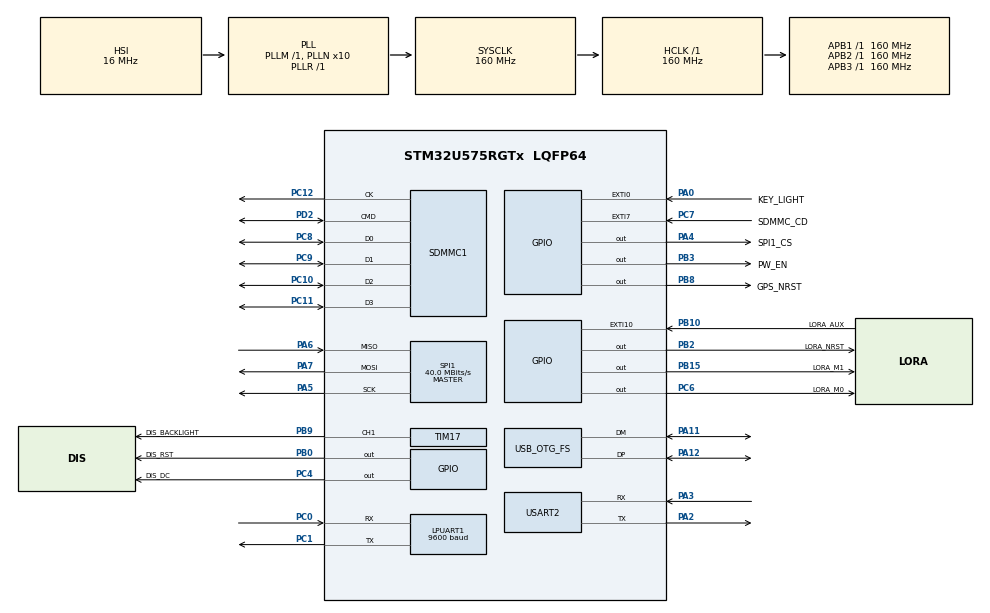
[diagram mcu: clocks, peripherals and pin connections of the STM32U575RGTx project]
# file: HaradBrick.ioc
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CORTEX_M33_NS.userName=CORTEX_M33
GPDMA1.DESTINC_GPDMACH0=DMA_DINC_INCREMENTED
GPDMA1.DIRECTION_GPDMACH1=DMA_MEMORY_TO_PERIPH
GPDMA1.DIRECTION_GPDMACH2=DMA_MEMORY_TO_PERIPH
GPDMA1.IPHANDLE_GPDMACH0-SIMPLEREQUEST_GPDMACH0=__NULL
GPDMA1.IPHANDLE_GPDMACH1-SIMPLEREQUEST_GPDMACH1=__NULL
GPDMA1.IPHANDLE_GPDMACH2-SIMPLEREQUEST_GPDMACH2=__NULL
GPDMA1.REQUEST_GPDMACH0=GPDMA1_REQUEST_USART2_RX
GPDMA1.REQUEST_GPDMACH1=GPDMA1_REQUEST_USART2_TX
GPDMA1.REQUEST_GPDMACH2=GPDMA1_REQUEST_SPI1_TX
GPDMA1.SRCINC_GPDMACH1=DMA_SINC_INCREMENTED
GPDMA1.SRCINC_GPDMACH2=DMA_SINC_INCREMENTED
LPUART1.BaudRate=9600
Mcu.Family=STM32U5
Mcu.Name=STM32U575RGTx
Mcu.Package=LQFP64
NVIC.EXTI0_IRQn=true\:5\:0\:true\:false\:true\:true\:true\:true
NVIC.EXTI10_IRQn=true\:5\:0\:true\:false\:true\:true\:true\:true
NVIC.EXTI7_IRQn=true\:10\:0\:true\:false\:true\:true\:true\:true
NVIC.GPDMA1_Channel0_IRQn=true\:0\:0\:false\:false\:true\:true\:true\:true
NVIC.GPDMA1_Channel1_IRQn=true\:0\:0\:false\:false\:true\:false\:true\:true
NVIC.GPDMA1_Channel2_IRQn=true\:10\:0\:true\:false\:true\:false\:true\:true
NVIC.LPUART1_IRQn=true\:5\:0\:true\:false\:true\:true\:true\:true
NVIC.OTG_FS_IRQn=true\:5\:0\:true\:false\:true\:true\:true\:true
NVIC.PriorityGroup=NVIC_PRIORITYGROUP_4
NVIC.SDMMC1_IRQn=true\:6\:0\:true\:false\:true\:true\:true\:true
NVIC.SPI1_IRQn=true\:10\:0\:true\:false\:true\:false\:true\:true
NVIC.TIM6_IRQn=true\:15\:0\:false\:false\:true\:false\:true\:true
NVIC.TimeBase=TIM6_IRQn
NVIC.TimeBaseIP=TIM6
NVIC.USART2_IRQn=true\:10\:0\:true\:false\:true\:true\:true\:true
PA0.GPIO_Label=KEY_LIGHT
PA0.GPIO_PuPd=GPIO_PULLDOWN
PA0.Signal=GPXTI0
PA11.Mode=Device_Only
PA11.Signal=USB_OTG_FS_DM
PA12.Mode=Device_Only
PA12.Signal=USB_OTG_FS_DP
PA13\ (JTMS/SWDIO).Mode=Serial_Wire
PA13\ (JTMS/SWDIO).Signal=DEBUG_JTMS-SWDIO
PA14\ (JTCK/SWCLK).Mode=Serial_Wire
PA14\ (JTCK/SWCLK).Signal=DEBUG_JTCK-SWCLK
PA2.Mode=Asynchronous
PA2.Signal=USART2_TX
PA3.Mode=Asynchronous
PA3.Signal=USART2_RX
PA4.GPIO_Label=SPI1_CS
PA4.GPIO_Speed=GPIO_SPEED_FREQ_HIGH
PA4.PinState=GPIO_PIN_SET
PA4.Signal=GPIO_Output
PA5.GPIO_Speed=GPIO_SPEED_FREQ_HIGH
PA5.Mode=Full_Duplex_Master
PA5.Signal=SPI1_SCK
PA6.GPIO_Speed=GPIO_SPEED_FREQ_HIGH
PA6.Mode=Full_Duplex_Master
PA6.Signal=SPI1_MISO
PA7.GPIO_Speed=GPIO_SPEED_FREQ_HIGH
PA7.Mode=Full_Duplex_Master
PA7.Signal=SPI1_MOSI
PB0.GPIO_Label=DIS_RST
PB0.Signal=GPIO_Output
PB10.GPIO_Label=LORA_AUX
PB10.GPIO_ModeDefaultEXTI=GPIO_MODE_IT_RISING_FALLING
PB10.Signal=GPXTI10
PB15.GPIO_Label=LORA_M1
PB15.Signal=GPIO_Output
PB2.GPIO_Label=LORA_NRST
PB2.Signal=GPIO_Output
PB3\ (JTDO/TRACESWO).GPIO_Label=PW_EN
PB3\ (JTDO/TRACESWO).GPIO_PuPd=GPIO_PULLUP
PB3\ (JTDO/TRACESWO).Signal=GPIO_Output
PB8.GPIO_Label=GPS_NRST
PB8.GPIO_PuPd=GPIO_PULLUP
PB8.Signal=GPIO_Output
PB9.GPIO_Label=DIS_BACKLIGHT
PB9.Signal=S_TIM17_CH1
PC0.Mode=Asynchronous
PC0.Signal=LPUART1_RX
PC1.Mode=Asynchronous
PC1.Signal=LPUART1_TX
PC10.Mode=SD_4_bits_Wide_bus
PC10.Signal=SDMMC1_D2
PC11.Mode=SD_4_bits_Wide_bus
PC11.Signal=SDMMC1_D3
PC12.Mode=SD_4_bits_Wide_bus
PC12.Signal=SDMMC1_CK
PC14-OSC32_IN\ (PC14).Mode=LSE-External-Oscillator
PC14-OSC32_IN\ (PC14).Signal=RCC_OSC32_IN
PC15-OSC32_OUT\ (PC15).Mode=LSE-External-Oscillator
PC15-OSC32_OUT\ (PC15).Signal=RCC_OSC32_OUT
PC4.GPIO_Label=DIS_DC
PC4.GPIO_Speed=GPIO_SPEED_FREQ_HIGH
PC4.Signal=GPIO_Output
PC6.GPIO_Label=LORA_M0
PC6.Signal=GPIO_Output
PC7.GPIO_Label=SDMMC_CD
PC7.GPIO_ModeDefaultEXTI=GPIO_MODE_IT_RISING_FALLING
PC7.GPIO_PuPd=GPIO_PULLUP
PC7.Signal=GPXTI7
PC8.Mode=SD_4_bits_Wide_bus
PC8.Signal=SDMMC1_D0
PC9.Mode=SD_4_bits_Wide_bus
PC9.Signal=SDMMC1_D1
PD2.Mode=SD_4_bits_Wide_bus
PD2.Signal=SDMMC1_CMD
ProjectManager.HeapSize=0x200
ProjectManager.StackSize=0x400
ProjectManager.TargetToolchain=CMake
RCC.ADCFreq_Value=16000000
RCC.AHBFreq_Value=160000000
RCC.APB1Freq_Value=160000000
RCC.APB1TimFreq_Value=160000000
RCC.APB2Freq_Value=160000000
RCC.APB2TimFreq_Value=160000000
RCC.APB3Freq_Value=160000000
RCC.CortexFreq_Value=160000000
RCC.EPOD_VALUE=16000000
RCC.HCLKFreq_Value=160000000
RCC.HSE_VALUE=16000000
RCC.HSI48_VALUE=48000000
RCC.HSI_VALUE=16000000
RCC.LPUART1CLockSelectionVirtual=RCC_LPUART1CLKSOURCE_LSE
RCC.LSIDIV_VALUE=32000
RCC.MSI_VALUE=4000000
RCC.PLL1R=1
RCC.PLLN=10
RCC.PLLSourceVirtual=RCC_PLLSOURCE_HSI
RCC.SPI1CLockSelection=RCC_SPI1CLKSOURCE_PCLK2
RCC.SYSCLKFreq_VALUE=160000000
RCC.SYSCLKSource=RCC_SYSCLKSOURCE_PLLCLK
RCC.USBFreq_Value=48000000
RCC.VCOOutputFreq_Value=160000000
SDMMC1.ClockDiv=2
SH.S_TIM17_CH1.0=TIM17_CH1,PWM Generation1 CH1
SPI1.BaudRatePrescaler=SPI_BAUDRATEPRESCALER_4
SPI1.CalculateBaudRate=40.0 MBits/s
SPI1.DataSize=SPI_DATASIZE_8BIT
SPI1.Direction=SPI_DIRECTION_2LINES
SPI1.MasterKeepIOState=SPI_MASTER_KEEP_IO_STATE_ENABLE
SPI1.Mode=SPI_MODE_MASTER
SPI1.VirtualType=VM_MASTER
TIM17.Channel=TIM_CHANNEL_1
TIM17.PeriodNoDither=1000-1
TIM17.Prescaler=16-1
USART2.VirtualMode-Asynchronous=VM_ASYNC
USB_OTG_FS.VirtualMode=Device_Only
VP_DCACHE1_VS_DCACHE.Mode=DCACHE_Activate
VP_GPDMA1_VS_GPDMACH0.Mode=SIMPLEREQUEST_GPDMACH0
VP_GPDMA1_VS_GPDMACH1.Mode=SIMPLEREQUEST_GPDMACH1
VP_GPDMA1_VS_GPDMACH2.Mode=SIMPLEREQUEST_GPDMACH2
VP_ICACHE_VS_ICACHE.Mode=DefaultMode
VP_LPBAMQUEUE_VS_QUEUE.Mode=QUEUEMODE
VP_LPBAM_VS_SIG1.Mode=SmartRun
VP_LPBAM_VS_SIG4.Mode=LPDMA1
VP_MEMORYMAP_VS_MEMORYMAP.Mode=CurAppReg
VP_PWR_VS_SECSignals.Mode=Security/Privilege
VP_SYS_VS_tim6.Mode=TIM6
VP_TIM17_VS_ClockSourceINT.Mode=Enable_Timer
board=custom

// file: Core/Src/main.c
/* USER CODE BEGIN Header */
/**
  ******************************************************************************
  * @file           : main.c
  * @brief          : Main program body
  ******************************************************************************
  * @attention
  *
  * Copyright (c) 2026 STMicroelectronics.
  * All rights reserved.
  *
  * This software is licensed under terms that can be found in the LICENSE file
  * in the root directory of this software component.
  * If no LICENSE file comes with this software, it is provided AS-IS.
  *
  ******************************************************************************
  */
/* USER CODE END Header */
#include "main.h"
#include "dcache.h"
#include "gpdma.h"
#include "icache.h"
#include "usart.h"
#include "sdmmc.h"
#include "spi.h"
#include "tim.h"
#include "usb_otg.h"
#include "gpio.h"

/* USER CODE BEGIN Includes */
#include "SEGGER_RTT.h"
#include "tx_api.h"
#include "LC760Z.h"
#include "gps.h"
#include "ili9341.h"
#include "display.h"
#include "backlight.h"
#include "backlight_app.h"
#include "sdcard.h"
#include "storage.h"
#include "usb_msc.h"
#include "e22.h"
#include "e22_port.h"
/* USER CODE END Includes */

/* USER CODE BEGIN PV */
TX_THREAD my_thread;
/* 线程栈：静态分配放 .bss，由链接器核算总量（溢出在链接期报错）；Cortex-M 栈需 8 字节对齐 */
static uint8_t my_thread_stack[1024] __attribute__((aligned(8)));

/* LoRa（E22-400T22S）：接收环形缓冲必须是 2 的幂，满时驱动丢弃新数据 */
static uint8_t g_lora_rx_ring[1024];
static e22_t   g_lora;
/* USER CODE END PV */

void SystemClock_Config(void);

/* USER CODE BEGIN 0 */

/**
 * @brief first threadx test thread
 */
void my_thread_entry(ULONG thread_input){
  /* Enter into a forever loop. */
  while(1)
  {
    /* Increment thread counter. */
    // SEGGER_RTT_WriteString(0, "threadx working\r\n");
    /* Sleep for 1 second. */
    tx_thread_sleep(100);
  }
}

/* ---- LoRa(E22-400T22S) 上电自检：打印模块型号/固件/参数，便于上板确认 ---- */

static const char *lora_baud_str(e22_uart_baud_t baud)
{
  switch (baud) {
  case E22_UART_BAUD_1200:   return "1200";
  case E22_UART_BAUD_2400:   return "2400";
  case E22_UART_BAUD_4800:   return "4800";
  case E22_UART_BAUD_9600:   return "9600";
  case E22_UART_BAUD_19200:  return "19200";
  case E22_UART_BAUD_38400:  return "38400";
  case E22_UART_BAUD_57600:  return "57600";
  case E22_UART_BAUD_115200: return "115200";
  default:                   return "?";
  }
}

static const char *lora_parity_str(e22_uart_parity_t parity)
{
  switch (parity) {
  case E22_UART_PARITY_8N1: return "8N1";
  case E22_UART_PARITY_8O1: return "8O1";
  case E22_UART_PARITY_8E1: return "8E1";
  default:                  return "?";
  }
}

static uint32_t lora_air_bps(e22_air_rate_t rate)
{
  switch (rate) {
  case E22_AIR_RATE_4K8:  return 4800u;
  case E22_AIR_RATE_9K6:  return 9600u;
  case E22_AIR_RATE_19K2: return 19200u;
  case E22_AIR_RATE_38K4: return 38400u;
  case E22_AIR_RATE_62K5: return 62500u;
  case E22_AIR_RATE_2K4:
  default:                return 2400u;
  }
}

static uint8_t lora_power_dbm(e22_tx_power_t power)
{
  static const uint8_t table[4] = {22u, 17u, 14u, 10u};

  return table[(unsigned)power & 0x03u];
}

static void lora_selftest(void)
{
  static const uint16_t packet_bytes[4] = {240u, 128u, 64u, 32u};
  e22_cfg_t cfg = {
    .rx_ring = g_lora_rx_ring,
    .rx_ring_size = (uint16_t)sizeof(g_lora_rx_ring),
    .aux_cb = NULL,
    .user = NULL,
  };
  e22_params_t params;
  uint8_t pid[E22_PID_LEN];
  char type[24];
  char fw[24];
  e22_status_t st;

  st = e22_init(&g_lora, &cfg);
  if (st != E22_OK) {
    SEGGER_RTT_printf(0, "[LORA] init failed: st=%d aux_busy=%u\r\n",
                      (int)st, (unsigned)e22_is_busy(&g_lora));
    return;
  }
  SEGGER_RTT_WriteString(0, "[LORA] init ok\r\n");

  if (e22_at_query(&g_lora, "AT+DEVTYPE=?", "DEVTYPE=", type, sizeof(type), 300u) != E22_OK) {
    type[0] = '?';
    type[1] = '\0';
  }
  if (e22_at_query(&g_lora, "AT+FWCODE=?", "FWCODE=", fw, sizeof(fw), 300u) != E22_OK) {
    fw[0] = '?';
    fw[1] = '\0';
  }
  SEGGER_RTT_printf(0, "[LORA] type=%s fw=%s\r\n", type, fw);

  if (e22_read_pid(&g_lora, pid) == E22_OK) {
    SEGGER_RTT_printf(0, "[LORA] pid=%02X%02X%02X%02X%02X%02X%02X\r\n",
                      pid[0], pid[1], pid[2], pid[3], pid[4], pid[5], pid[6]);
  }

  if (e22_read_params(&g_lora, &params) == E22_OK) {
    SEGGER_RTT_printf(0, "[LORA] addr=0x%04X netid=%u ch=%u (%u.125MHz) air=%u bps\r\n",
                      (unsigned)params.address, (unsigned)params.netid,
                      (unsigned)params.channel, (unsigned)(410u + params.channel),
                      (unsigned)lora_air_bps(params.air_rate));
    SEGGER_RTT_printf(0, "[LORA] uart=%s %s pkt=%u B pwr=%u dBm fixed=%u lbt=%u relay=%u\r\n",
                      lora_baud_str(params.uart_baud),
                      lora_parity_str(params.uart_parity),
                      (unsigned)packet_bytes[(unsigned)params.packet_len & 0x03u],
                      (unsigned)lora_power_dbm(params.tx_power),
                      (unsigned)params.fixed_tx, (unsigned)params.lbt,
                      (unsigned)params.relay);
    SEGGER_RTT_printf(0, "[LORA] wor_role=%u period=%u ms rssi_env=%u rssi_byte=%u soft=%u\r\n",
                      (unsigned)params.wor_role,
                      (unsigned)(((unsigned)params.wor_period + 1u) * 500u),
                      (unsigned)params.rssi_env, (unsigned)params.rssi_byte,
                      (unsigned)params.soft_mode);
  } else {
    SEGGER_RTT_WriteString(0, "[LORA] read params failed\r\n");
  }
}

void tx_application_define(void *first_unused_memory){
  /* 任务栈为静态数组（见 PV 区），此处只传入指针与大小 */
  (void)first_unused_memory;

  /* 屏幕 SPI 发送切 DMA：在这里创建完成信号量（ili9341_init() 已在内核启动前跑完，
     那一段仍是轮询）。未配置 SPI1_TX DMA 时返回 false，发送保持轮询 */
  if (ili9341_rtos_attach()) {
    SEGGER_RTT_WriteString(0, "[LCD] SPI DMA enabled\r\n");
  } else {
    SEGGER_RTT_WriteString(0, "[LCD] SPI DMA unavailable, polling mode\r\n");
  }

  tx_thread_create(&my_thread, "test thread",
                    my_thread_entry, 0x1234, my_thread_stack, sizeof(my_thread_stack),
                    3, 3, TX_NO_TIME_SLICE, TX_AUTO_START);

  /* GPS 应用层：创建解析线程与事件组（ISR 侧入口为 gps_rx_push） */
  gps_init();

  /* 显示应用层：快照读取在 gps_init 之后，线程优先级低于 GPS */
  display_init();

  /* 屏幕背光：KEY_LIGHT 上升沿点亮 3 s */
  backlight_app_init();

  /* USB 设备（MSC）：必须早于 storage_init——storage 要用这里的媒体互斥量串行化
     对 TF 卡的访问，而 PC 枚举后 usb_msc 会置位"主机占用"标志把 storage 挡在外面 */
  usb_msc_init();

  /* 存储应用层：挂载 FAT 卷并做一次读写自检。
     必须在内核启动后——FatFs 的卷互斥量是 ThreadX 对象 */
  storage_init();
}
/* USER CODE END 0 */

int main(void)
{

  /* MCU Configuration--------------------------------------------------------*/

  /* Reset of all peripherals, Initializes the Flash interface and the Systick. */
  HAL_Init();

  /* Configure the system clock */
  SystemClock_Config();

  /* Initialize all configured peripherals */
  MX_GPIO_Init();
  MX_GPDMA1_Init();
  MX_USART2_UART_Init();
  MX_ICACHE_Init();
  MX_DCACHE1_Init();
  MX_SPI1_Init();
  MX_TIM17_Init();
  MX_SDMMC1_SD_Init();
  MX_USB_OTG_FS_PCD_Init();
  MX_LPUART1_UART_Init();
  /* USER CODE BEGIN 2 */
  /* 模拟 USB 拔出：OTG 软断开（DCTL.SDIS=1）并把 D+ (PA12) 拉成 GPIO 输出低，
     主机立刻判定设备已拔出。等 USBX 设备栈就绪后由 usb_msc 线程把 D+ 交还给
     OTG 并打开内部上拉，主机看到一次干净的插入并重新枚举——这样每次软件复位
     （含调试器复位）都不需要手动拔插 USB 线。
     必须放在 MX_USB_OTG_FS_PCD_Init() 之后：HAL_PCD_Stop() 需要有效的 PCD 句柄 */
  usb_msc_boot_detach();

  /* 背光 PWM 先以 0% 启动：电源打开后引脚就是确定的低电平，不会闪一下 */
  bool backlight_ready = backlight_init();

  // 启动电源
  HAL_Delay(100);
  HAL_GPIO_WritePin(PW_EN_GPIO_Port, PW_EN_Pin, GPIO_PIN_SET);
  HAL_Delay(100);
  // RTT初始化输出
  SEGGER_RTT_Init();
  SEGGER_RTT_WriteString(0, "System Boot OK\r\n");

  /* TF 卡硬件自检（只读）：十几毫秒级，结果同时留在 g_sd_probe 里给 J-Link 看 */
  sdcard_probe();
  {
    char label[12];

    for (uint32_t i = 0u; i < 11u; i++) {
      label[i] = (char)g_sd_probe.label[i];
    }
    label[11] = '\0';

    SEGGER_RTT_printf(0, "[SD] stage=%u cd=%u type=%u ver=%u rca=%u err=0x%08x\r\n",
                      (unsigned)g_sd_probe.stage, (unsigned)g_sd_probe.cd_pin,
                      (unsigned)g_sd_probe.card_type, (unsigned)g_sd_probe.card_version,
                      (unsigned)g_sd_probe.rca, (unsigned)g_sd_probe.hal_error);
    if (g_sd_probe.stage >= (uint32_t)SDCARD_STAGE_MBR_OK) {
      SEGGER_RTT_printf(0, "[SD] %u x %u B, mbr=%u part=0x%02x lba=%u fat32=%u\r\n",
                        (unsigned)g_sd_probe.block_nbr, (unsigned)g_sd_probe.block_size,
                        (unsigned)g_sd_probe.mbr_sig_ok, (unsigned)g_sd_probe.part_type,
                        (unsigned)g_sd_probe.part_lba, (unsigned)g_sd_probe.fat32_ok);
    }
    if (g_sd_probe.stage >= (uint32_t)SDCARD_STAGE_BS_OK) {
      SEGGER_RTT_printf(0, "[SD] bps=%u spc=%u rsv=%u fats=%u fatsz=%u label=%s\r\n",
                        (unsigned)g_sd_probe.bytes_per_sector,
                        (unsigned)g_sd_probe.sectors_per_cluster,
                        (unsigned)g_sd_probe.reserved_sectors,
                        (unsigned)g_sd_probe.num_fats, (unsigned)g_sd_probe.fat_size,
                        label);
    }
  }
  if (!backlight_ready) {
    SEGGER_RTT_WriteString(0, "[BL] PWM init failed\r\n");
  }
  // 屏幕初始化（约 1.3 s：复位 + 软复位 + 退出睡眠）；此时 GPS 仍按住复位，不丢数据
  if (!ili9341_init()) {
    SEGGER_RTT_WriteString(0, "[LCD] init failed\r\n");
  }
  // LC760Z初始化
  LC760Z_init();
  // LoRa(E22-400T22S)初始化 + 上电自检（型号/固件/参数打印到 RTT）
  lora_selftest();

  // start threadx kernel
  tx_kernel_enter();
  /* USER CODE END 2 */

  /* Infinite loop */
  while (1)
  {

  }
}

void SystemClock_Config(void)
{
  RCC_OscInitTypeDef RCC_OscInitStruct = {0};
  RCC_ClkInitTypeDef RCC_ClkInitStruct = {0};

  /** Configure the main internal regulator output voltage
  */
  if (HAL_PWREx_ControlVoltageScaling(PWR_REGULATOR_VOLTAGE_SCALE1) != HAL_OK)
  {
    Error_Handler();
  }

  /** Configure LSE Drive Capability
  */
  HAL_PWR_EnableBkUpAccess();
  __HAL_RCC_LSEDRIVE_CONFIG(RCC_LSEDRIVE_LOW);

  /** Initializes the CPU, AHB and APB buses clocks
  */
  RCC_OscInitStruct.OscillatorType = RCC_OSCILLATORTYPE_HSI48|RCC_OSCILLATORTYPE_HSI
                              |RCC_OSCILLATORTYPE_LSE;
  RCC_OscInitStruct.LSEState = RCC_LSE_ON;
  RCC_OscInitStruct.HSIState = RCC_HSI_ON;
  RCC_OscInitStruct.HSI48State = RCC_HSI48_ON;
  RCC_OscInitStruct.HSICalibrationValue = RCC_HSICALIBRATION_DEFAULT;
  RCC_OscInitStruct.PLL.PLLState = RCC_PLL_ON;
  RCC_OscInitStruct.PLL.PLLSource = RCC_PLLSOURCE_HSI;
  RCC_OscInitStruct.PLL.PLLMBOOST = RCC_PLLMBOOST_DIV1;
  RCC_OscInitStruct.PLL.PLLM = 1;
  RCC_OscInitStruct.PLL.PLLN = 10;
  RCC_OscInitStruct.PLL.PLLP = 2;
  RCC_OscInitStruct.PLL.PLLQ = 2;
  RCC_OscInitStruct.PLL.PLLR = 1;
  RCC_OscInitStruct.PLL.PLLRGE = RCC_PLLVCIRANGE_1;
  RCC_OscInitStruct.PLL.PLLFRACN = 0;
  if (HAL_RCC_OscConfig(&RCC_OscInitStruct) != HAL_OK)
  {
    Error_Handler();
  }

  /** Initializes the CPU, AHB and APB buses clocks
  */
  RCC_ClkInitStruct.ClockType = RCC_CLOCKTYPE_HCLK|RCC_CLOCKTYPE_SYSCLK
                              |RCC_CLOCKTYPE_PCLK1|RCC_CLOCKTYPE_PCLK2
                              |RCC_CLOCKTYPE_PCLK3;
  RCC_ClkInitStruct.SYSCLKSource = RCC_SYSCLKSOURCE_PLLCLK;
  RCC_ClkInitStruct.AHBCLKDivider = RCC_SYSCLK_DIV1;
  RCC_ClkInitStruct.APB1CLKDivider = RCC_HCLK_DIV1;
  RCC_ClkInitStruct.APB2CLKDivider = RCC_HCLK_DIV1;
  RCC_ClkInitStruct.APB3CLKDivider = RCC_HCLK_DIV1;

  if (HAL_RCC_ClockConfig(&RCC_ClkInitStruct, FLASH_LATENCY_4) != HAL_OK)
  {
    Error_Handler();
  }
}

/* USER CODE BEGIN 4 */
void HAL_GPIO_EXTI_Rising_Callback(uint16_t GPIO_Pin){
  if(GPIO_Pin == KEY_LIGHT_Pin){
    /* ISR 只发事件：点亮与 3 s 计时都在 backlight 线程里做 */
    backlight_app_button_isr();
  }
  else if(GPIO_Pin == LORA_AUX_Pin){
    /* AUX 上升沿 = 模块回到空闲 */
    e22_port_aux_isr();
  }
}

void HAL_GPIO_EXTI_Falling_Callback(uint16_t GPIO_Pin){
  if(GPIO_Pin == LORA_AUX_Pin){
    /* AUX 下降沿 = 模块开始忙（收包前 / 发包 / 切模式） */
    e22_port_aux_isr();
  }
}

void HAL_UARTEx_RxEventCallback(UART_HandleTypeDef *huart, uint16_t Size){
  if(huart->Instance == USART2){
    /* 半传输事件：既不是完整帧，也不能 rearm，直接忽略，等 IDLE / TC */
    if(HAL_UARTEx_GetRxEventType(huart) == HAL_UART_RXEVENT_HT){
      return;
    }
    /* ISR 只搬运：Size 是本次 burst 的有效字节数（DMA_NORMAL 下 HAL 已 abort DMA
       并置 RxState=READY，所以紧接着 rearm 是合法的）。不能用整个缓冲当字符串，
       否则会把上一帧更长的残留一起读进来；解析与打印都在 gps 线程里做 */
    gps_rx_push(LC760Z_rx_data, Size);
    LC760Z_uart_start_receive();
  }
  else if(huart->Instance == LPUART1){
    /* ISR 只把本次 burst 拷进 LoRa 环形缓冲并 rearm */
    if(HAL_UARTEx_GetRxEventType(huart) == HAL_UART_RXEVENT_HT){
      return;
    }
    e22_port_rx_event(Size);
  }
}

void HAL_UART_ErrorCallback(UART_HandleTypeDef *huart){
  if(huart->Instance == USART2){
    /* TODO: 如果重启接收失败将永远关闭接收，待后续完善 */
    LC760Z_uart_start_receive();
  }
  else if(huart->Instance == LPUART1){
    /* ORE/帧错误：复位接收并 rearm，最多毁掉当前一包 */
    e22_port_uart_error();
  }
}
/* USER CODE END 4 */

void HAL_TIM_PeriodElapsedCallback(TIM_HandleTypeDef *htim)
{
  if (htim->Instance == TIM6)
  {
    HAL_IncTick();
  }
}

void Error_Handler(void)
{
  __disable_irq();
  while (1)
  {
  }
}
